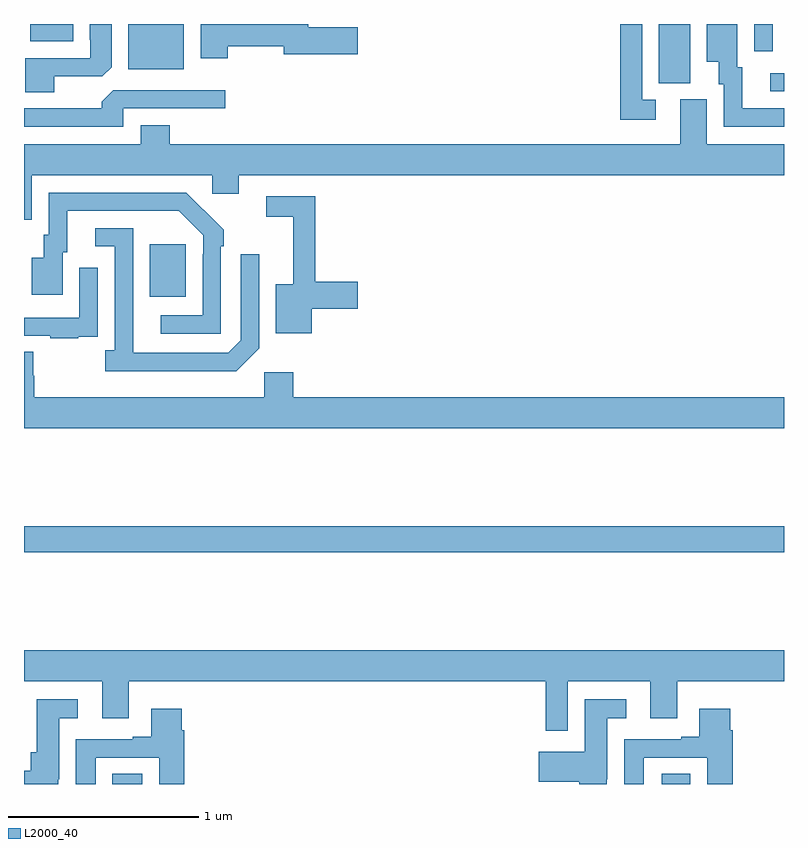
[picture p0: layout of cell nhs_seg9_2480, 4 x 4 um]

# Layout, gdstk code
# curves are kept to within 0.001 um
import gdstk
lib = gdstk.Library(unit=1e-6, precision=1e-09)
def R(c, l, rs):  # rectangles x0, y0, x1, y1
    for r in rs: c.add(gdstk.rectangle(r[:2], r[2:], *l))
def P(c, l, *ps):  # polygons
    for p in ps: c.add(gdstk.Polygon(p, *l))
L2000_40 = (2000, 40)

nhs_seg9_2480 = lib.new_cell('nhs_seg9_2480')
R(nhs_seg9_2480, L2000_40, [(251.465,1242.5,251.623,1242.554), (254.357,1242.5,254.506,1242.554), (251,1243.72,255,1243.856), (251.663,1245.065,251.851,1245.34), (254.928,1246.146,255,1246.242), (254.342,1246.189,254.506,1246.5), (251.549,1246.262,251.842,1246.5), (254.844,1246.356,254.94,1246.5), (251.033,1246.409,251.26,1246.5)])
P(nhs_seg9_2480, L2000_40, [(252.072,1246.384),(252.368,1246.384),(252.368,1246.342),(252.757,1246.342),(252.757,1246.484),(252.496,1246.484),(252.496,1246.5),(251.93,1246.5),(251.93,1246.32),(252.072,1246.32)],
  [(254.326,1246.101),(254.253,1246.101),(254.253,1246.5),(254.137,1246.5),(254.137,1245.996),(254.326,1245.996)],
  [(251.158,1246.224),(251.412,1246.224),(251.461,1246.273),(251.461,1246.5),(251.345,1246.5),(251.345,1246.417),(251.349,1246.417),(251.349,1246.32),(251.006,1246.32),(251.006,1246.141),(251.158,1246.141)],
  [(255,1246.056),(254.779,1246.056),(254.779,1246.272),(254.755,1246.272),(254.755,1246.498),(254.594,1246.498),(254.594,1246.301),(254.657,1246.301),(254.657,1246.182),(254.682,1246.182),(254.682,1245.96),(255,1245.96)],
  [(251.523,1246.056),(252.058,1246.056),(252.058,1246.152),(251.469,1246.152),(251.408,1246.09),(251.408,1246.056),(251,1246.056),(251,1245.96),(251.523,1245.96)],
  [(251.041,1245.704),(251.991,1245.704),(251.991,1245.606),(252.13,1245.606),(252.13,1245.704),(255,1245.704),(255,1245.868),(254.593,1245.868),(254.593,1246.104),(254.453,1246.104),(254.453,1245.868),(251.768,1245.868),(251.768,1245.967),(251.615,1245.967),(251.615,1245.868),(251,1245.868),(251,1245.469),(251.041,1245.469)],
  [(252.036,1245.329),(252.051,1245.329),(252.051,1245.417),(251.854,1245.612),(251.13,1245.612),(251.13,1245.39),(251.105,1245.39),(251.105,1245.271),(251.042,1245.271),(251.042,1245.075),(251.203,1245.075),(251.203,1245.3),(251.227,1245.3),(251.227,1245.516),(251.815,1245.516),(251.943,1245.387),(251.943,1245.287),(251.94,1245.287),(251.94,1244.967),(251.721,1244.967),(251.721,1244.871),(252.036,1244.871)],
  [(252.514,1245.001),(252.757,1245.001),(252.757,1245.143),(252.533,1245.143),(252.533,1245.594),(252.276,1245.594),(252.276,1245.486),(252.416,1245.486),(252.416,1245.13),(252.326,1245.13),(252.326,1244.873),(252.514,1244.873)],
  [(252.237,1244.793),(252.237,1245.289),(252.141,1245.289),(252.141,1244.835),(252.075,1244.769),(251.575,1244.769),(251.574,1245.426),(251.376,1245.426),(251.376,1245.33),(251.478,1245.33),(251.478,1244.782),(251.427,1244.782),(251.427,1244.672),(252.116,1244.672)],
  [(251.285,1244.853),(251.387,1244.853),(251.387,1244.962),(251.388,1244.962),(251.388,1245.217),(251.292,1245.217),(251.292,1244.955),(251,1244.955),(251,1244.859),(251.137,1244.859),(251.137,1244.847),(251.285,1244.847)],
  [(255,1244.536),(252.416,1244.536),(252.416,1244.668),(252.264,1244.668),(252.264,1244.536),(251.054,1244.536),(251.054,1244.649),(251.049,1244.649),(251.049,1244.774),(251,1244.774),(251,1244.372),(255,1244.372)],
  [(253.863,1243.04),(254.297,1243.04),(254.297,1242.846),(254.437,1242.846),(254.437,1243.04),(255,1243.04),(255,1243.204),(251,1243.204),(251,1243.04),(251.411,1243.04),(251.411,1242.846),(251.551,1242.846),(251.551,1243.04),(253.747,1243.04),(253.747,1242.78),(253.863,1242.78)],
  [(254.067,1242.526),(254.071,1242.526),(254.071,1242.845),(254.17,1242.845),(254.17,1242.946),(253.952,1242.946),(253.952,1242.67),(253.71,1242.67),(253.71,1242.512),(253.922,1242.512),(253.922,1242.5),(254.067,1242.5)],
  [(251.181,1242.526),(251.185,1242.526),(251.185,1242.845),(251.284,1242.845),(251.284,1242.946),(251.066,1242.946),(251.066,1242.666),(251.036,1242.666),(251.036,1242.571),(251,1242.571),(251,1242.5),(251.181,1242.5)],
  [(251.377,1242.639),(251.711,1242.639),(251.711,1242.5),(251.843,1242.5),(251.843,1242.782),(251.83,1242.782),(251.83,1242.895),(251.669,1242.895),(251.669,1242.748),(251.573,1242.748),(251.573,1242.735),(251.273,1242.735),(251.273,1242.5),(251.377,1242.5)],
  [(254.263,1242.639),(254.597,1242.639),(254.597,1242.5),(254.729,1242.5),(254.729,1242.782),(254.716,1242.782),(254.716,1242.895),(254.555,1242.895),(254.555,1242.748),(254.459,1242.748),(254.459,1242.735),(254.159,1242.735),(254.159,1242.5),(254.263,1242.5)])

lib.write_gds('nhs_seg9_2480.gds')
